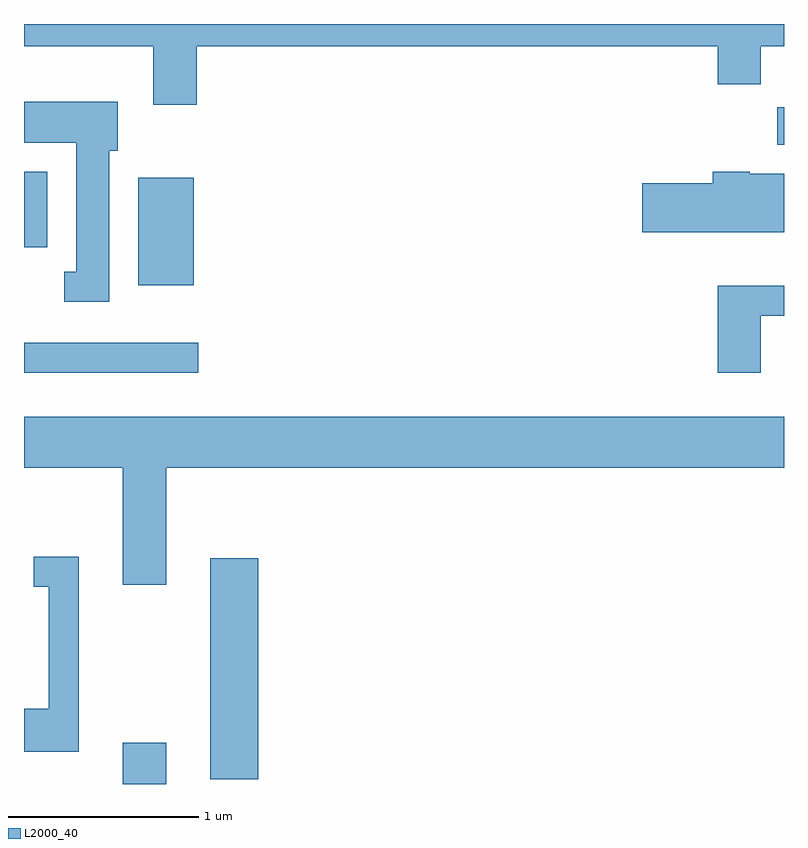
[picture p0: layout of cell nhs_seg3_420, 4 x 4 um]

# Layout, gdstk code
import gdstk
lib = gdstk.Library(unit=1e-6, precision=1e-09)
def R(c, l, rs):  # rectangles x0, y0, x1, y1
    for r in rs: c.add(gdstk.rectangle(r[:2], r[2:], *l))
def P(c, l, *ps):  # polygons
    for p in ps: c.add(gdstk.Polygon(p, *l))
L2000_40 = (2000, 40)

nhs_seg3_420 = lib.new_cell('nhs_seg3_420')
R(nhs_seg3_420, L2000_40, [(198.131,1139.892,198.359,1140.109), (198.591,1139.916,198.844,1141.079), (197.611,1142.056,198.528,1142.214), (198.211,1142.516,198.504,1143.084), (197.611,1142.716,197.734,1143.114), (201.576,1143.256,201.611,1143.454)])
P(nhs_seg3_420, L2000_40, [(198.519,1143.776),(201.261,1143.776),(201.261,1143.576),(201.489,1143.576),(201.489,1143.776),(201.611,1143.776),(201.611,1143.892),(197.611,1143.892),(197.611,1143.776),(198.291,1143.776),(198.291,1143.466),(198.519,1143.466)],
  [(198.059,1143.226),(198.104,1143.226),(198.104,1143.484),(197.611,1143.484),(197.611,1143.266),(197.886,1143.266),(197.886,1142.589),(197.823,1142.589),(197.823,1142.431),(198.059,1142.431)],
  [(201.611,1143.104),(201.43,1143.104),(201.43,1143.114),(201.236,1143.114),(201.236,1143.054),(200.866,1143.054),(200.866,1142.796),(201.611,1142.796)],
  [(201.489,1142.356),(201.611,1142.356),(201.611,1142.514),(201.261,1142.514),(201.261,1142.056),(201.489,1142.056)],
  [(198.359,1141.556),(201.611,1141.556),(201.611,1141.824),(197.611,1141.824),(197.611,1141.556),(198.131,1141.556),(198.131,1140.941),(198.359,1140.941)],
  [(197.899,1141.089),(197.663,1141.089),(197.663,1140.931),(197.741,1140.931),(197.741,1140.289),(197.611,1140.289),(197.611,1140.061),(197.899,1140.061)])

lib.write_gds('nhs_seg3_420.gds')
